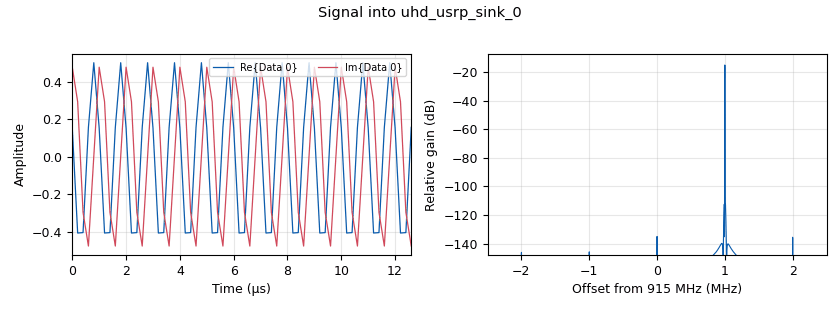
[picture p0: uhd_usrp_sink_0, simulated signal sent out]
<?xml version='1.0' encoding='utf-8'?>
<?grc format='1' created='3.7.10'?>
<flow_graph>
<block>
<key>options</key>
<param><key>id</key><value>signal_source_tx</value></param>
<param><key>author</key><value>Ettus Research</value></param>
<param><key>category</key><value>Custom</value></param>
<param><key>description</key><value>Signal Source Transmitter</value></param>
<param><key>generate_options</key><value>qt_gui</value></param>
<param><key>title</key><value>Signal Source TX</value></param>
</block>
<block>
<key>variable_qtgui_range</key>
<param><key>id</key><value>amp</value></param>
<param><key>value</key><value>0.5</value></param>
<param><key>label</key><value>Amp</value></param>
<param><key>orient</key><value>Qt.Horizontal</value></param>
<param><key>start</key><value>0</value></param>
<param><key>step</key><value>.1</value></param>
<param><key>stop</key><value>1</value></param>
</block>
<block>
<key>variable</key>
<param><key>id</key><value>center_freq</value></param>
<param><key>value</key><value>915000000</value></param>
</block>
<block>
<key>variable</key>
<param><key>id</key><value>device_string</value></param>
<param><key>value</key><value>"type=b200"</value></param>
</block>
<block>
<key>variable_qtgui_range</key>
<param><key>id</key><value>freq</value></param>
<param><key>value</key><value>1e6</value></param>
<param><key>label</key><value>Freq</value></param>
<param><key>orient</key><value>Qt.Horizontal</value></param>
<param><key>start</key><value>0</value></param>
<param><key>step</key><value>1000</value></param>
<param><key>stop</key><value>5e6</value></param>
</block>
<block>
<key>variable_qtgui_range</key>
<param><key>id</key><value>rf_gain</value></param>
<param><key>value</key><value>0</value></param>
<param><key>label</key><value>RF Gain</value></param>
<param><key>orient</key><value>Qt.Horizontal</value></param>
<param><key>start</key><value>0</value></param>
<param><key>step</key><value>1</value></param>
<param><key>stop</key><value>25</value></param>
</block>
<block>
<key>variable</key>
<param><key>id</key><value>samp_rate</value></param>
<param><key>value</key><value>5e6</value></param>
</block>
<block>
<key>analog_sig_source_x</key>
<param><key>id</key><value>analog_sig_source_x_0</value></param>
<param><key>amp</key><value>amp</value></param>
<param><key>freq</key><value>freq</value></param>
<param><key>offset</key><value>0</value></param>
<param><key>type</key><value>complex</value></param>
<param><key>samp_rate</key><value>samp_rate</value></param>
<param><key>waveform</key><value>analog.GR_COS_WAVE</value></param>
</block>
<block>
<key>uhd_usrp_sink</key>
<param><key>id</key><value>uhd_usrp_sink_0</value></param>
<param><key>ant0</key><value>TX/RX</value></param>
<param><key>center_freq0</key><value>center_freq</value></param>
<param><key>norm_gain0</key><value>False</value></param>
<param><key>gain0</key><value>rf_gain</value></param>
<param><key>clock_rate</key><value>0.0</value></param>
<param><key>dev_args</key><value>device_string</value></param>
<param><key>type</key><value>fc32</value></param>
<param><key>samp_rate</key><value>samp_rate</value></param>
<param><key>hide_cmd_port</key><value>False</value></param>
<param><key>hide_lo_controls</key><value>True</value></param>
<param><key>sync</key><value></value></param>
<param><key>len_tag_name</key><value></value></param>
</block>
<connection><source_block_id>analog_sig_source_x_0</source_block_id><sink_block_id>uhd_usrp_sink_0</sink_block_id><source_key>0</source_key><sink_key>0</sink_key></connection>
</flow_graph>
